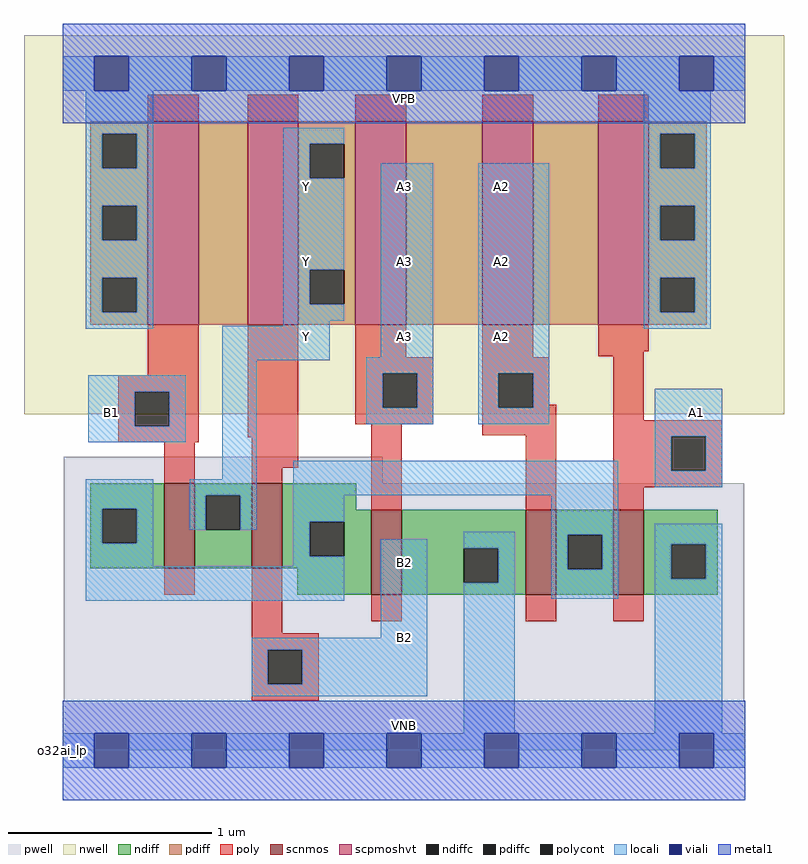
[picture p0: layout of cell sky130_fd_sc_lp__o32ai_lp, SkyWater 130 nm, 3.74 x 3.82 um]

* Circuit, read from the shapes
.subckt sky130_fd_sc_lp__o32ai_lp A1 A2 A3 B1 B2 VGND VNB VPB VPWR Y
XM1 Y B1 n1 VNB sky130_fd_pr__nfet_01v8 w=0.42 l=0.15
XM2 n1 B2 Y VNB sky130_fd_pr__nfet_01v8 w=0.42 l=0.15
XM3 VGND A3 n1 VNB sky130_fd_pr__nfet_01v8 w=0.42 l=0.15
XM4 n1 A2 VGND VNB sky130_fd_pr__nfet_01v8 w=0.42 l=0.15
XM5 VGND A1 n1 VNB sky130_fd_pr__nfet_01v8 w=0.42 l=0.15
XM6 n2 B1 VPWR VPB sky130_fd_pr__pfet_01v8_hvt w=1 l=0.25
XM7 Y B2 n2 VPB sky130_fd_pr__pfet_01v8_hvt w=1 l=0.25
XM8 n3 A3 Y VPB sky130_fd_pr__pfet_01v8_hvt w=1 l=0.25
XM9 n4 A2 n3 VPB sky130_fd_pr__pfet_01v8_hvt w=1 l=0.25
XM10 VPWR A1 n4 VPB sky130_fd_pr__pfet_01v8_hvt w=1 l=0.25
.ends

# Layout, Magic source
magic
tech sky130A
magscale 1 2
<< nwell >>
rect -38 331 710 704
<< pwell >>
rect 1 263 315 289
rect 1 49 671 263
rect 0 0 672 49
<< scnmos >>
rect 100 179 130 263
rect 186 179 216 263
rect 304 153 334 237
rect 456 153 486 237
rect 542 153 572 237
<< scpmoshvt >>
rect 84 419 134 619
rect 182 419 232 619
rect 288 419 338 619
rect 413 419 463 619
rect 527 419 577 619
<< ndiff >>
rect 27 238 100 263
rect 27 204 39 238
rect 73 204 100 238
rect 27 179 100 204
rect 130 251 186 263
rect 130 217 141 251
rect 175 217 186 251
rect 130 179 186 217
rect 216 237 289 263
rect 216 225 304 237
rect 216 191 243 225
rect 277 191 304 225
rect 216 179 304 191
rect 231 153 304 179
rect 334 199 456 237
rect 334 165 395 199
rect 429 165 456 199
rect 334 153 456 165
rect 486 212 542 237
rect 486 178 497 212
rect 531 178 542 212
rect 486 153 542 178
rect 572 203 645 237
rect 572 169 599 203
rect 633 169 645 203
rect 572 153 645 169
<< pdiff >>
rect 27 607 84 619
rect 27 573 39 607
rect 73 573 84 607
rect 27 536 84 573
rect 27 502 39 536
rect 73 502 84 536
rect 27 465 84 502
rect 27 431 39 465
rect 73 431 84 465
rect 27 419 84 431
rect 134 419 182 619
rect 232 597 288 619
rect 232 563 243 597
rect 277 563 288 597
rect 232 473 288 563
rect 232 439 243 473
rect 277 439 288 473
rect 232 419 288 439
rect 338 419 413 619
rect 463 419 527 619
rect 577 607 634 619
rect 577 573 588 607
rect 622 573 634 607
rect 577 536 634 573
rect 577 502 588 536
rect 622 502 634 536
rect 577 465 634 502
rect 577 431 588 465
rect 622 431 634 465
rect 577 419 634 431
<< ndiffc >>
rect 39 204 73 238
rect 141 217 175 251
rect 243 191 277 225
rect 395 165 429 199
rect 497 178 531 212
rect 599 169 633 203
<< pdiffc >>
rect 39 573 73 607
rect 39 502 73 536
rect 39 431 73 465
rect 243 563 277 597
rect 243 439 277 473
rect 588 573 622 607
rect 588 502 622 536
rect 588 431 622 465
<< poly >>
rect 84 619 134 645
rect 182 619 232 645
rect 288 619 338 645
rect 413 619 463 645
rect 527 619 577 645
rect 84 369 134 419
rect 55 353 134 369
rect 55 319 71 353
rect 105 319 134 353
rect 55 303 134 319
rect 182 308 232 419
rect 288 387 338 419
rect 413 387 463 419
rect 527 393 577 419
rect 527 388 572 393
rect 288 371 365 387
rect 288 337 315 371
rect 349 337 365 371
rect 288 321 365 337
rect 413 371 479 387
rect 413 337 429 371
rect 463 340 479 371
rect 463 337 486 340
rect 100 263 130 303
rect 186 278 232 308
rect 186 263 216 278
rect 304 237 334 321
rect 413 310 486 337
rect 456 237 486 310
rect 542 325 572 388
rect 542 309 649 325
rect 542 275 599 309
rect 633 275 649 309
rect 542 259 649 275
rect 542 237 572 259
rect 100 153 130 179
rect 186 115 216 179
rect 304 127 334 153
rect 456 127 486 153
rect 542 127 572 153
rect 186 99 252 115
rect 186 65 202 99
rect 236 65 252 99
rect 186 49 252 65
<< polycont >>
rect 71 319 105 353
rect 315 337 349 371
rect 429 337 463 371
rect 599 275 633 309
rect 202 65 236 99
<< locali >>
rect 0 649 31 683
rect 65 649 127 683
rect 161 649 223 683
rect 257 649 319 683
rect 353 649 415 683
rect 449 649 511 683
rect 545 649 607 683
rect 641 649 672 683
rect 23 607 89 649
rect 23 573 39 607
rect 73 573 89 607
rect 23 536 89 573
rect 23 502 39 536
rect 73 502 89 536
rect 23 465 89 502
rect 23 431 39 465
rect 73 431 89 465
rect 23 415 89 431
rect 217 597 277 613
rect 217 563 243 597
rect 572 607 638 649
rect 217 473 277 563
rect 217 439 243 473
rect 217 423 277 439
rect 217 418 263 423
rect 157 384 263 418
rect 313 387 365 578
rect 25 353 121 369
rect 25 319 71 353
rect 105 319 121 353
rect 25 303 121 319
rect 157 267 191 384
rect 299 371 365 387
rect 299 337 315 371
rect 349 337 365 371
rect 299 321 365 337
rect 409 371 479 578
rect 572 573 588 607
rect 622 573 638 607
rect 572 536 638 573
rect 572 502 588 536
rect 622 502 638 536
rect 572 465 638 502
rect 572 431 588 465
rect 622 431 638 465
rect 572 415 638 431
rect 409 337 429 371
rect 463 337 479 371
rect 409 321 479 337
rect 583 309 649 356
rect 23 238 89 267
rect 23 204 39 238
rect 73 204 89 238
rect 125 251 191 267
rect 125 217 141 251
rect 175 217 191 251
rect 227 251 547 285
rect 583 275 599 309
rect 633 275 649 309
rect 583 259 649 275
rect 227 225 277 251
rect 23 181 89 204
rect 227 191 243 225
rect 227 181 277 191
rect 23 147 277 181
rect 313 111 359 208
rect 186 99 359 111
rect 186 65 202 99
rect 236 65 359 99
rect 186 53 359 65
rect 395 199 445 215
rect 429 165 445 199
rect 395 17 445 165
rect 481 212 547 251
rect 481 178 497 212
rect 531 178 547 212
rect 481 149 547 178
rect 583 203 649 223
rect 583 169 599 203
rect 633 169 649 203
rect 583 17 649 169
rect 0 -17 31 17
rect 65 -17 127 17
rect 161 -17 223 17
rect 257 -17 319 17
rect 353 -17 415 17
rect 449 -17 511 17
rect 545 -17 607 17
rect 641 -17 672 17
<< viali >>
rect 31 649 65 683
rect 127 649 161 683
rect 223 649 257 683
rect 319 649 353 683
rect 415 649 449 683
rect 511 649 545 683
rect 607 649 641 683
rect 31 -17 65 17
rect 127 -17 161 17
rect 223 -17 257 17
rect 319 -17 353 17
rect 415 -17 449 17
rect 511 -17 545 17
rect 607 -17 641 17
<< metal1 >>
rect 0 683 672 715
rect 0 649 31 683
rect 65 649 127 683
rect 161 649 223 683
rect 257 649 319 683
rect 353 649 415 683
rect 449 649 511 683
rect 545 649 607 683
rect 641 649 672 683
rect 0 617 672 649
rect 0 17 672 49
rect 0 -17 31 17
rect 65 -17 127 17
rect 161 -17 223 17
rect 257 -17 319 17
rect 353 -17 415 17
rect 449 -17 511 17
rect 545 -17 607 17
rect 641 -17 672 17
rect 0 -49 672 -17
<< labels >>
flabel pwell s 0 0 672 49 0 FreeSans 200 0 0 0 VNB
port 7 nsew ground bidirectional
flabel nwell s 0 617 672 666 0 FreeSans 200 0 0 0 VPB
port 8 nsew power bidirectional
rlabel comment s 0 0 0 0 4 o32ai_lp
flabel metal1 s 0 617 672 666 0 FreeSans 340 0 0 0 VPWR
port 9 nsew power bidirectional
flabel metal1 s 0 0 672 49 0 FreeSans 340 0 0 0 VGND
port 6 nsew ground bidirectional
flabel locali s 223 390 257 424 0 FreeSans 340 0 0 0 Y
port 10 nsew signal output
flabel locali s 223 464 257 498 0 FreeSans 340 0 0 0 Y
port 10 nsew signal output
flabel locali s 223 538 257 572 0 FreeSans 340 0 0 0 Y
port 10 nsew signal output
flabel locali s 31 316 65 350 0 FreeSans 340 0 0 0 B1
port 4 nsew signal input
flabel locali s 415 390 449 424 0 FreeSans 340 0 0 0 A2
port 2 nsew signal input
flabel locali s 415 464 449 498 0 FreeSans 340 0 0 0 A2
port 2 nsew signal input
flabel locali s 415 538 449 572 0 FreeSans 340 0 0 0 A2
port 2 nsew signal input
flabel locali s 319 94 353 128 0 FreeSans 340 0 0 0 B2
port 5 nsew signal input
flabel locali s 319 168 353 202 0 FreeSans 340 0 0 0 B2
port 5 nsew signal input
flabel locali s 319 390 353 424 0 FreeSans 340 0 0 0 A3
port 3 nsew signal input
flabel locali s 319 464 353 498 0 FreeSans 340 0 0 0 A3
port 3 nsew signal input
flabel locali s 319 538 353 572 0 FreeSans 340 0 0 0 A3
port 3 nsew signal input
flabel locali s 607 316 641 350 0 FreeSans 340 0 0 0 A1
port 1 nsew signal input
<< properties >>
string LEFsite unit
string LEFclass CORE
string FIXED_BBOX 0 0 672 666
string GDS_FILE $PDKPATH/libs.ref/sky130_fd_sc_lp/gds/sky130_fd_sc_lp.gds
string LEFsymmetry X Y R90
string GDS_END 1839908
string GDS_START 1833184
<< end >>
